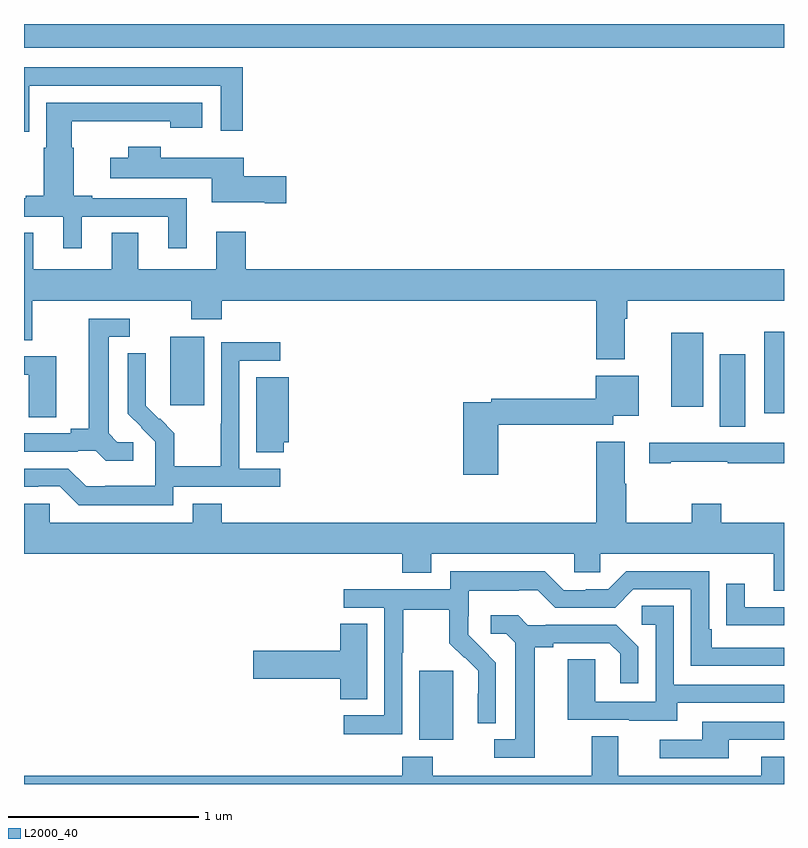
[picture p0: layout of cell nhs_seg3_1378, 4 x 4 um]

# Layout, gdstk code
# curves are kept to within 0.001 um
import gdstk
lib = gdstk.Library(unit=1e-6, precision=1e-09)
def R(c, l, rs):  # rectangles x0, y0, x1, y1
    for r in rs: c.add(gdstk.rectangle(r[:2], r[2:], *l))
def P(c, l, *ps):  # polygons
    for p in ps: c.add(gdstk.Polygon(p, *l))
L2000_40 = (2000, 40)

nhs_seg3_1378 = lib.new_cell('nhs_seg3_1378')
R(nhs_seg3_1378, L2000_40, [(185.081,670.634,185.26,670.995), (186.662,672.28,186.796,672.661), (186.896,672.351,187,672.781), (186.407,672.386,186.574,672.775), (183.77,672.393,183.949,672.754), (183,674.276,187,674.4)])
P(nhs_seg3_1378, L2000_40, [(183.027,674.076),(184.035,674.076),(184.035,673.839),(184.151,673.839),(184.151,674.172),(183,674.172),(183,673.833),(183.027,673.833)],
  [(183.304,673.386),(183.758,673.386),(183.758,673.221),(183.856,673.221),(183.856,673.482),(183.358,673.482),(183.358,673.495),(183.262,673.495),(183.262,673.749),(183.25,673.749),(183.25,673.889),(183.77,673.889),(183.77,673.853),(183.937,673.853),(183.937,673.986),(183.116,673.986),(183.116,673.749),(183.104,673.749),(183.104,673.495),(183.008,673.495),(183.008,673.482),(183,673.482),(183,673.386),(183.206,673.386),(183.206,673.221),(183.304,673.221)],
  [(184.381,673.598),(184.156,673.598),(184.156,673.696),(183.719,673.696),(183.719,673.753),(183.548,673.753),(183.548,673.696),(183.453,673.696),(183.453,673.589),(183.989,673.589),(183.989,673.463),(184.268,673.463),(184.268,673.456),(184.381,673.456)],
  [(186.163,672.848),(186.176,672.848),(186.176,672.944),(187,672.944),(187,673.108),(184.166,673.108),(184.166,673.306),(184.013,673.306),(184.013,673.108),(183.601,673.108),(183.601,673.301),(183.461,673.301),(183.461,673.108),(183.049,673.108),(183.049,673.301),(183,673.301),(183,672.736),(183.043,672.736),(183.043,672.944),(183.88,672.944),(183.88,672.845),(184.04,672.845),(184.04,672.944),(186.011,672.944),(186.011,672.635),(186.163,672.635)],
  [(183.574,672.198),(183.492,672.198),(183.445,672.245),(183.445,672.753),(183.556,672.753),(183.556,672.849),(183.341,672.849),(183.341,672.269),(183.245,672.269),(183.245,672.246),(183,672.246),(183,672.15),(183.284,672.15),(183.284,672.153),(183.378,672.153),(183.43,672.101),(183.574,672.101)],
  [(183.786,671.964),(184.348,671.964),(184.348,672.06),(184.134,672.06),(184.134,672.627),(184.348,672.627),(184.348,672.726),(184.038,672.726),(184.038,672.296),(184.036,672.296),(184.036,672.073),(183.791,672.073),(183.791,672.247),(183.714,672.324),(183.711,672.321),(183.641,672.392),(183.642,672.668),(183.546,672.668),(183.546,672.35),(183.692,672.202),(183.692,672.105),(183.69,672.105),(183.69,671.971),(183.427,671.971),(183.427,671.967),(183.327,671.967),(183.234,672.06),(183,672.06),(183,671.964),(183.074,671.964),(183.074,671.967),(183.189,671.967),(183.289,671.867),(183.786,671.867)],
  [(183.169,672.651),(183,672.651),(183,672.555),(183.024,672.555),(183.024,672.331),(183.169,672.331)],
  [(185.495,672.292),(186.102,672.292),(186.102,672.338),(186.235,672.338),(186.235,672.55),(186.008,672.55),(186.008,672.428),(185.458,672.428),(185.458,672.408),(185.312,672.408),(185.312,672.027),(185.495,672.027)],
  [(184.367,672.198),(184.394,672.198),(184.394,672.542),(184.223,672.542),(184.223,672.145),(184.367,672.145)],
  [(187,671.776),(186.669,671.776),(186.669,671.875),(186.514,671.875),(186.514,671.776),(186.171,671.776),(186.171,671.981),(186.163,671.981),(186.163,672.202),(186.011,672.202),(186.011,671.776),(184.04,671.776),(184.04,671.875),(183.887,671.875),(183.887,671.776),(183.135,671.776),(183.135,671.874),(183,671.874),(183,671.612),(184.991,671.612),(184.991,671.513),(185.143,671.513),(185.143,671.612),(185.895,671.612),(185.895,671.514),(186.033,671.514),(186.033,671.612),(186.947,671.612),(186.947,671.418),(187,671.418)],
  [(186.403,672.097),(186.703,672.097),(186.703,672.087),(187,672.087),(187,672.196),(186.9,672.196),(186.9,672.195),(186.566,672.195),(186.566,672.197),(186.291,672.197),(186.291,672.087),(186.403,672.087)],
  [(184.992,671.092),(184.995,671.092),(184.995,671.316),(185.239,671.316),(185.239,671.141),(185.316,671.064),(185.319,671.067),(185.39,670.997),(185.39,670.874),(185.388,670.874),(185.388,670.72),(185.484,670.72),(185.484,671.038),(185.338,671.186),(185.338,671.283),(185.34,671.283),(185.34,671.417),(185.603,671.417),(185.603,671.421),(185.703,671.421),(185.796,671.328),(186.111,671.328),(186.207,671.424),(186.51,671.424),(186.51,671.022),(187,671.022),(187,671.118),(186.619,671.118),(186.619,671.215),(186.606,671.215),(186.606,671.52),(186.171,671.52),(186.075,671.424),(185.957,671.424),(185.957,671.421),(185.841,671.421),(185.741,671.521),(185.244,671.521),(185.244,671.424),(184.683,671.424),(184.683,671.328),(184.896,671.328),(184.896,670.761),(184.683,670.761),(184.683,670.663),(184.992,670.663)],
  [(187,671.331),(186.793,671.331),(186.793,671.455),(186.697,671.455),(186.697,671.236),(186.799,671.236),(186.799,671.235),(187,671.235)],
  [(186.439,670.827),(187,670.827),(187,670.923),(186.42,670.923),(186.42,671.339),(186.252,671.339),(186.252,671.238),(186.324,671.238),(186.324,670.833),(186.006,670.833),(186.006,671.057),(185.861,671.057),(185.861,670.737),(186.185,670.737),(186.185,670.733),(186.439,670.733)],
  [(185.689,671.12),(185.785,671.12),(185.785,671.142),(186.08,671.142),(186.137,671.085),(186.137,670.929),(186.234,670.929),(186.234,671.122),(186.118,671.238),(185.746,671.238),(185.746,671.235),(185.652,671.235),(185.6,671.287),(185.457,671.287),(185.457,671.19),(185.538,671.19),(185.585,671.143),(185.585,670.635),(185.475,670.635),(185.475,670.539),(185.689,670.539)],
  [(184.807,671.243),(184.664,671.243),(184.664,671.102),(184.206,671.102),(184.206,670.955),(184.664,670.955),(184.664,670.846),(184.807,670.846)],
  [(186.709,670.632),(187,670.632),(187,670.728),(186.569,670.728),(186.569,670.632),(186.345,670.632),(186.345,670.536),(186.709,670.536)],
  [(187,670.543),(186.881,670.543),(186.881,670.444),(186.127,670.444),(186.127,670.652),(185.987,670.652),(185.987,670.444),(185.151,670.444),(185.151,670.543),(184.991,670.543),(184.991,670.444),(183,670.444),(183,670.4),(187,670.4)])

lib.write_gds('nhs_seg3_1378.gds')
